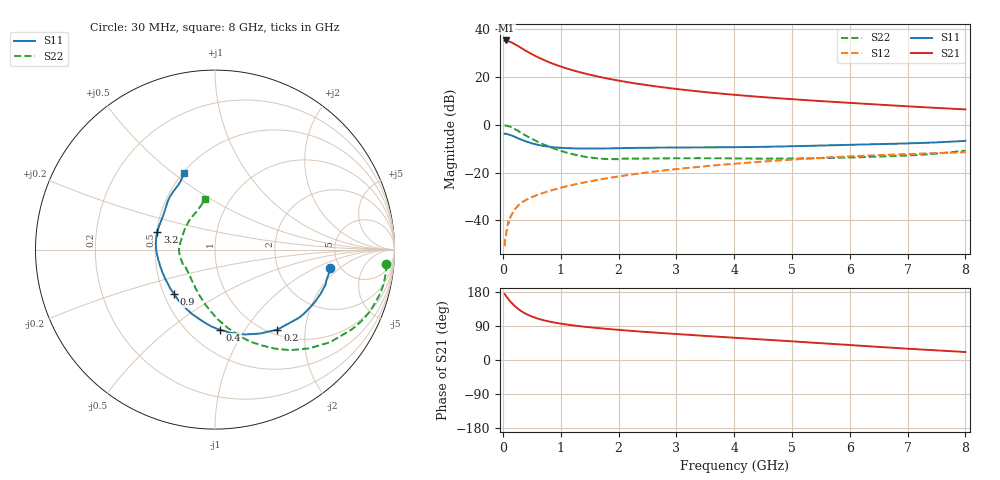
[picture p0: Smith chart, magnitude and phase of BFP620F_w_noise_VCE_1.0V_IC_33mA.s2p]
! Infineon Technologies  Discrete & RF Semiconductors
! BFP620F
! VCE =  1.0 V,  IC =  33 mA
! Common Emitter S-Parameters:  Dec 2014
# GHz  S  MA  R  50
!  f  S11  S21  S12  S22
! GHz  MAG  ANG  MAG  ANG  MAG  ANG  MAG  ANG
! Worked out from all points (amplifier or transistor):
!   95 points, 30 MHz to 8 GHz, reference 50 ohm
!   highest |S21| = 35.3 dB at 60 MHz (marker M1)
!   |S21| within 3 dB of that: start of sweep to 307.4 MHz
!   unconditionally stable (mu >= 1): 2.372 GHz to end of sweep
!   at 300 MHz: K = 0.40, MSG = 32.6 dB, |S12| = -32.8 dB
!   at 3.3 GHz: K = 1.02, MAG = 15.0 dB, |S12| = -17.8 dB
!   at 8 GHz: K = 1.06, MAG = 7.5 dB, |S12| = -11.5 dB
!   lowest NFmin = 1.20 dB at 450 MHz
!   S11 on the Smith chart (normalised r, x): 30 MHz: 4.14, -1.50; 200 MHz: 1.09, -1.43; 400 MHz: 0.70, -0.78; 900 MHz: 0.56, -0.31; 3.2 GHz: 0.51, +0.11; 8 GHz: 0.50, +0.55
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0.03  0.6498 -9.3  56.92 174.2  0.0029 91.8  0.9577 -4.8
0.06  0.6465 -17.5  57.89 168.0  0.0058 85.0  0.9596 -11.5
0.09  0.632 -25.6  56.59 161.8  0.0093 76.7  0.9403 -18.1
0.13  0.6095 -36.3  53.82 154.2  0.0114 77.0  0.9061 -26.3
0.15  0.5955 -40.9  52.6 150.9  0.013 74.7  0.8835 -30.1
0.2  0.5653 -52.0  48.8 143.2  0.0168 70.6  0.8235 -38.8
0.25  0.5304 -61.9  45.1 136.5  0.0196 68.4  0.7601 -46.4
0.3  0.5008 -70.8  41.52 130.8  0.0228 65.7  0.6997 -53.2
0.4  0.4476 -86.4  35.12 121.7  0.0268 63.3  0.5927 -64.1
0.5  0.4089 -98.7  30.02 114.8  0.0308 61.8  0.5102 -73.1
0.6  0.3815 -109.5  26.02 109.4  0.0342 61.6  0.4423 -80.7
0.7  0.3614 -118.4  22.85 105.1  0.0378 61.2  0.3905 -87.5
0.9  0.3363 -132.8  18.23 98.6  0.0447 61.5  0.314 -99.4
1.1  0.3239 -144.2  15.08 93.7  0.0517 61.8  0.2626 -110.4
1.4  0.3194 -157.2  11.95 88.0  0.0621 61.8  0.2168 -125.9
1.9  0.3219 -172.6  8.829 80.8  0.0797 61.0  0.1912 -148.8
2.7  0.333 171.0  6.226 71.6  0.108 57.5  0.1974 -168.1
3.2  0.3358 163.0  5.264 66.6  0.1255 55.0  0.1999 -175.5
4.1  0.341 150.9  4.138 57.8  0.1565 49.4  0.1974 172.7
5.4  0.3654 137.9  3.185 45.3  0.2001 40.2  0.2001 150.6
6.7  0.3993 125.2  2.554 32.7  0.2363 30.1  0.2208 127.3
8  0.4613 112.1  2.096 21.0  0.2671 20.4  0.2879 100.7
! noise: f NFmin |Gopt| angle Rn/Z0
0.45  1.2  0.08  -172  0.17
0.9  1.23  0.09  -171  0.13
1.5  1.24  0.14  -149  0.13
1.8  1.25  0.14  -148  0.14
1.9  1.26  0.15  -148  0.14
2.4  1.28  0.15  215  0.16
3.5  1.34  0.16  -140  0.18
5.5  1.49  0.23  243  0.14
6  1.53  0.24  260  0.17
